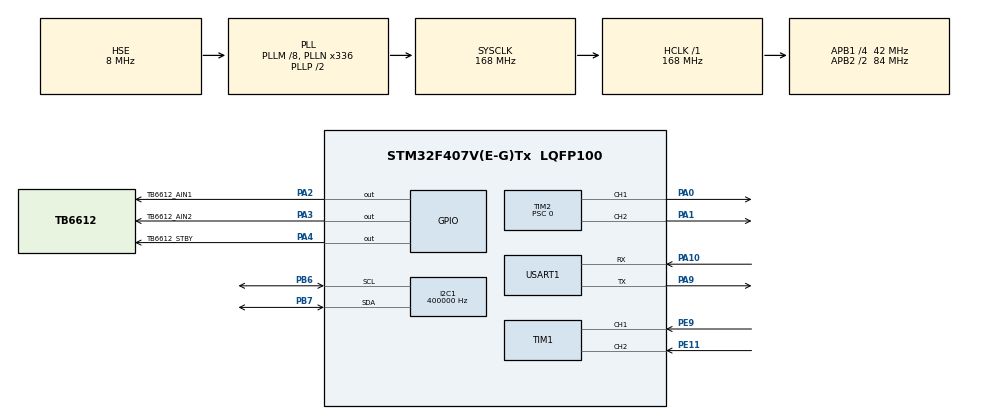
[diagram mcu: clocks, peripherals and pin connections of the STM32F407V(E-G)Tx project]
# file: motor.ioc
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I2C1.ClockSpeed=400000
I2C1.DutyCycle=I2C_DUTYCYCLE_2
Mcu.Family=STM32F4
Mcu.Name=STM32F407V(E-G)Tx
Mcu.Package=LQFP100
NVIC.PriorityGroup=NVIC_PRIORITYGROUP_4
NVIC.USART1_IRQn=true\:5\:0\:false\:false\:true\:true\:true\:true
PA0-WKUP.Signal=S_TIM2_CH1_ETR
PA1.Signal=S_TIM2_CH2
PA10.Mode=Asynchronous
PA10.Signal=USART1_RX
PA13.Mode=Serial_Wire
PA13.Signal=SYS_JTMS-SWDIO
PA14.Mode=Serial_Wire
PA14.Signal=SYS_JTCK-SWCLK
PA2.GPIO_Label=TB6612_AIN1
PA2.Signal=GPIO_Output
PA3.GPIO_Label=TB6612_AIN2
PA3.Signal=GPIO_Output
PA4.GPIO_Label=TB6612_STBY
PA4.Signal=GPIO_Output
PA9.Mode=Asynchronous
PA9.Signal=USART1_TX
PB6.Mode=I2C
PB6.Signal=I2C1_SCL
PB7.Mode=I2C
PB7.Signal=I2C1_SDA
PE11.Signal=S_TIM1_CH2
PE9.Signal=S_TIM1_CH1
PH0-OSC_IN.Mode=HSE-External-Oscillator
PH0-OSC_IN.Signal=RCC_OSC_IN
PH1-OSC_OUT.Mode=HSE-External-Oscillator
PH1-OSC_OUT.Signal=RCC_OSC_OUT
ProjectManager.HeapSize=0x200
ProjectManager.StackSize=0x800
ProjectManager.TargetToolchain=CMake
RCC.48MHZClocksFreq_Value=84000000
RCC.AHBFreq_Value=168000000
RCC.APB1CLKDivider=RCC_HCLK_DIV4
RCC.APB1Freq_Value=42000000
RCC.APB1TimFreq_Value=84000000
RCC.APB2CLKDivider=RCC_HCLK_DIV2
RCC.APB2Freq_Value=84000000
RCC.APB2TimFreq_Value=168000000
RCC.CortexFreq_Value=168000000
RCC.HCLKFreq_Value=168000000
RCC.HSE_VALUE=8000000
RCC.HSI_VALUE=16000000
RCC.LSE_VALUE=32768
RCC.PLLM=8
RCC.PLLN=336
RCC.PLLSourceVirtual=RCC_PLLSOURCE_HSE
RCC.SYSCLKFreq_VALUE=168000000
RCC.SYSCLKSource=RCC_SYSCLKSOURCE_PLLCLK
RCC.VCOOutputFreq_Value=336000000
SH.S_TIM1_CH1.0=TIM1_CH1,Encoder_Interface
SH.S_TIM1_CH2.0=TIM1_CH2,Encoder_Interface
SH.S_TIM2_CH1_ETR.0=TIM2_CH1,PWM Generation1 CH1
SH.S_TIM2_CH2.0=TIM2_CH2,PWM Generation2 CH2
TIM1.EncoderMode=TIM_ENCODERMODE_TI12
TIM2.Channel-PWM\ Generation1\ CH1=TIM_CHANNEL_1
TIM2.Channel-PWM\ Generation2\ CH2=TIM_CHANNEL_2
TIM2.Period=4199
TIM2.Prescaler=0
TIM2.Pulse-PWM\ Generation1\ CH1=0
TIM2.Pulse-PWM\ Generation2\ CH2=0
USART1.VirtualMode=VM_ASYNC
board=custom

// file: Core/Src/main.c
/* USER CODE BEGIN Header */
/**
  ******************************************************************************
  * @file           : main.c
  * @brief          直流有刷电机 PID 速度控制 Demo
  *
  * ============================ 硬件接线 ============================
  *   PA0   TIM2_CH1  PWM   ->  TB6612 PWMA
  *   PA2   GPIO 输出        ->  TB6612 AIN1
  *   PA3   GPIO 输出        ->  TB6612 AIN2
  *   PA4   GPIO 输出        ->  TB6612 STBY (高电平使能)
  *   PE9   TIM1_CH1         ->  编码器 A 相
  *   PE11  TIM1_CH2         ->  编码器 B 相
  *   PB6   I2C1_SCL         ->  OLED SCL
  *   PB7   I2C1_SDA         ->  OLED SDA
  *   PA9   USART1_TX        ->  USB-TTL RX
  *   PA10  USART1_RX        ->  USB-TTL TX
  *
  * ============================ VOFA+ 设置 ============================
  *   数据引擎 = JustFloat    通道数 = 4    波特率 = 115200
  *   通道0 = 期望转速    通道1 = 实际转速
  *   通道2 = 占空比      通道3 = 误差
  *
  * ============================ 串口命令 ============================
  *   在 VOFA+ 发送框里输入, 带不带换行都行:
  *     500          目标转速 500 RPM (负数反转)
  *     KP 2.5       KI 10       KD 0.02
  *     START        STOP
  *     DUTY 800     开环给占空比 (测接线用)
  *
  * ============================ 代码结构 ============================
  *   main.c     调度 + 命令解析 + 显示    motor.c    电机输出
  *   encoder.c  测速                      pid.c      PID 算法
  *   comm.c     串口收发                  oled.c     屏幕
  ******************************************************************************
  */
/* USER CODE END Header */
#include "main.h"
#include "i2c.h"
#include "tim.h"
#include "usart.h"
#include "gpio.h"

/* USER CODE BEGIN Includes */
#include "motor.h"
#include "encoder.h"
#include "pid.h"
#include "comm.h"
#include "oled.h"
#include <stdio.h>
#include <string.h>
/* USER CODE END Includes */

/* USER CODE BEGIN PD */

/* ==================================================================
 *  【参数区】上电默认值
 * ================================================================== */
#define CTRL_MS          10       /* 控制周期 ms (速度环 100Hz)                */

#define DEFAULT_TARGET   200.0f   /* 上电目标转速 RPM                          */
#define DEFAULT_KP       2.0f     /* 比例                                      */
#define DEFAULT_KI       10.0f    /* 积分                                      */
#define DEFAULT_KD       0.02f    /* 微分                                      */

#define OVERSPEED_RPM    3000.0f  /* 实际转速超过它就停机 (防编码器接反飞车)   */

/* USER CODE END PD */

/* USER CODE BEGIN PV */
static PID_t   pid;                          /* PID 控制器            */
static float   target_rpm = DEFAULT_TARGET;  /* 目标转速              */
static uint8_t running    = 1;               /* 1=闭环运行 0=停机     */

static uint8_t open_loop  = 0;               /* 1=开环(DUTY 命令测试) */
static int16_t open_duty  = 0;

/* 下面几个是显示 / 上报用的 */
static float   speed_rpm  = 0.0f;            /* 实际转速              */
static int16_t duty       = 0;               /* 当前输出占空比        */
static float   err        = 0.0f;            /* 误差                  */
static char    last_cmd[20] = "NONE";        /* 最后收到的一条命令    */
/* USER CODE END PV */

void SystemClock_Config(void);
/* USER CODE BEGIN PFP */
static float StrToFloat(const char *s);
static void  HandleCommand(char *s);
static void  Control_Step(void);
static void  Display_Task(void);
/* USER CODE END PFP */

/* USER CODE BEGIN 0 */

/* ==================================================================
 *  字符串转浮点 (自己写, 免得为了收命令再引入 scanf)
 * ================================================================== */
static float StrToFloat(const char *s)
{
  float v = 0.0f;
  float f = 0.1f;
  int   neg = 0;

  while ((*s == ' ') || (*s == '=') || (*s == '\t')) s++;

  if (*s == '-') { neg = 1; s++; }
  else if (*s == '+') { s++; }

  while ((*s >= '0') && (*s <= '9')) { v = v * 10.0f + (float)(*s - '0'); s++; }

  if (*s == '.')
  {
    s++;
    while ((*s >= '0') && (*s <= '9')) { v += (float)(*s - '0') * f; f *= 0.1f; s++; }
  }

  return neg ? -v : v;
}

/* ==================================================================
 *  命令解析
 * ================================================================== */
static void HandleCommand(char *s)
{
  /* 记下来, 显示在 OLED 上, 方便确认命令到底收到没有 */
  strncpy(last_cmd, s, sizeof(last_cmd) - 1);
  last_cmd[sizeof(last_cmd) - 1] = '\0';

  if (strncmp(s, "KP", 2) == 0)
  {
    pid.Kp = StrToFloat(s + 2);
  }
  else if (strncmp(s, "KI", 2) == 0)
  {
    pid.Ki = StrToFloat(s + 2);
  }
  else if (strncmp(s, "KD", 2) == 0)
  {
    pid.Kd = StrToFloat(s + 2);
  }
  else if (strncmp(s, "START", 5) == 0)
  {
    open_loop = 0;
    PID_Reset(&pid);
    running = 1;
  }
  else if (strncmp(s, "STOP", 4) == 0)
  {
    running = 0;
    duty    = 0;
    Motor_Set(0);
  }
  else if (strncmp(s, "DUTY", 4) == 0)
  {
    open_duty = (int16_t)StrToFloat(s + 4);
    open_loop = 1;
    running   = 1;
  }
  else if ((s[0] == '-') || (s[0] == '+') || (s[0] == '.') ||
           ((s[0] >= '0') && (s[0] <= '9')))
  {
    /* 纯数字 = 设目标转速, 顺便确保在闭环运行 */
    target_rpm = StrToFloat(s);
    open_loop  = 0;
    PID_Reset(&pid);
    running    = 1;
  }
  else
  {
    /* 不认识的命令, 忽略 */
  }
}

/* ==================================================================
 *  控制: 每 CTRL_MS 跑一次 (由 SysTick 中断里的 Control_Tick 调)
 * ================================================================== */
static void Control_Step(void)
{
  speed_rpm = Encoder_ReadRPM((float)CTRL_MS);

  /* 过速保护: 编码器接反会变成正反馈, 转速一路飙升, 这里兜一下 */
  if ((speed_rpm > OVERSPEED_RPM) || (speed_rpm < -OVERSPEED_RPM))
  {
    running = 0;
    duty    = 0;
    Motor_Set(0);
    return;
  }

  if (running == 0)                       /* 停机 */
  {
    duty = 0;
    err  = 0.0f;
    Motor_Set(0);
    PID_Reset(&pid);
    pid.last_speed = speed_rpm;           /* 重新启动时微分不会突变 */
    return;
  }

  if (open_loop)                          /* 开环测试: 直接给占空比 */
  {
    err  = target_rpm - speed_rpm;
    duty = open_duty;
    Motor_Set(duty);
    return;
  }

  /* 闭环 */
  err  = target_rpm - speed_rpm;
  duty = (int16_t)PID_Calc(&pid, target_rpm, speed_rpm, (float)CTRL_MS / 1000.0f);
  Motor_Set(duty);
}

/* SysTick 每 1ms 进一次, 数到 CTRL_MS 再跑控制, 保证采样周期准确 */
void Control_Tick(void)
{
  static uint32_t cnt = 0;

  if (++cnt >= CTRL_MS)
  {
    cnt = 0;
    Control_Step();
  }
}

/* ==================================================================
 *  OLED 显示: 每次只刷一行(约 3ms), 8 行轮流刷, 一屏 160ms
 * ================================================================== */
static void Display_Task(void)
{
  static uint32_t tick = 0;
  static uint8_t  line = 0;
  char s[32];

  if ((HAL_GetTick() - tick) < 20)
  {
    return;
  }
  tick = HAL_GetTick();

  switch (line)
  {
    case 0: snprintf(s, sizeof(s), "TAR %6d rpm", (int)target_rpm);      break;
    case 1: snprintf(s, sizeof(s), "ACT %6d rpm", (int)speed_rpm);       break;
    case 2: snprintf(s, sizeof(s), "OUT %6d",     (int)duty);            break;
    case 3: snprintf(s, sizeof(s), "ERR %6d rpm", (int)err);             break;
    case 4: snprintf(s, sizeof(s), "P%.2f I%.1f D%.3f", pid.Kp, pid.Ki, pid.Kd); break;
    case 5: snprintf(s, sizeof(s), "%s %s",
                     running ? "RUN" : "STOP",
                     open_loop ? "OPEN" : "CLOSED");                     break;
    case 6: snprintf(s, sizeof(s), "CMD: %s", last_cmd);                 break;
    default: snprintf(s, sizeof(s), "PID MOTOR DEMO");                   break;
  }

  OLED_ShowLine(line, s);

  line = (uint8_t)((line + 1) % 8);
}

/* USER CODE END 0 */

int main(void)
{
  /* USER CODE BEGIN 1 */
  uint32_t tick_send = 0;
  char     cmd[24];
  /* USER CODE END 1 */

  /* MCU Configuration--------------------------------------------------------*/
  HAL_Init();

  /* Configure the system clock */
  SystemClock_Config();

  /* Initialize all configured peripherals */
  MX_GPIO_Init();
  MX_I2C1_Init();
  MX_TIM1_Init();
  MX_TIM2_Init();
  MX_USART1_UART_Init();
  /* USER CODE BEGIN 2 */

  Motor_Init();                                        /* 电机 (PWM + STBY)  */
  Encoder_Init();                                      /* 编码器             */
  PID_Init(&pid, DEFAULT_KP, DEFAULT_KI, DEFAULT_KD, MOTOR_PWM_MAX);
  Comm_Init();                                         /* 串口 + 接收中断    */
  OLED_Init();                                         /* 屏幕(没接也不影响) */

  /* USER CODE END 2 */

  /* Infinite loop */
  /* USER CODE BEGIN WHILE */
  while (1)
  {
    /* 1. 每 10ms 给 VOFA+ 发一帧 */
    if ((HAL_GetTick() - tick_send) >= 10)
    {
      tick_send = HAL_GetTick();
      Comm_SendFrame(target_rpm, speed_rpm, (float)duty, err);
    }

    /* 2. 看看有没有收到串口命令 */
    if (Comm_GetCommand(cmd, sizeof(cmd)))
    {
      HandleCommand(cmd);
    }

    /* 3. 刷一行 OLED */
    Display_Task();

    /* USER CODE END WHILE */

  }
}

void SystemClock_Config(void)
{
  RCC_OscInitTypeDef RCC_OscInitStruct = {0};
  RCC_ClkInitTypeDef RCC_ClkInitStruct = {0};

  /** 内核电压调节器
  */
  __HAL_RCC_PWR_CLK_ENABLE();
  __HAL_PWR_VOLTAGESCALING_CONFIG(PWR_REGULATOR_VOLTAGE_SCALE1);

  /** 晶振 + PLL:  HSE 8MHz / 8 * 336 / 2 = 168MHz
  */
  RCC_OscInitStruct.OscillatorType = RCC_OSCILLATORTYPE_HSE;
  RCC_OscInitStruct.HSEState = RCC_HSE_ON;
  RCC_OscInitStruct.PLL.PLLState = RCC_PLL_ON;
  RCC_OscInitStruct.PLL.PLLSource = RCC_PLLSOURCE_HSE;
  RCC_OscInitStruct.PLL.PLLM = 8;
  RCC_OscInitStruct.PLL.PLLN = 336;
  RCC_OscInitStruct.PLL.PLLP = RCC_PLLP_DIV2;
  RCC_OscInitStruct.PLL.PLLQ = 4;
  if (HAL_RCC_OscConfig(&RCC_OscInitStruct) != HAL_OK)
  {
    Error_Handler();
  }

  /** 总线分频: AHB=168M, APB1=42M, APB2=84M
  */
  RCC_ClkInitStruct.ClockType = RCC_CLOCKTYPE_HCLK|RCC_CLOCKTYPE_SYSCLK
                              |RCC_CLOCKTYPE_PCLK1|RCC_CLOCKTYPE_PCLK2;
  RCC_ClkInitStruct.SYSCLKSource = RCC_SYSCLKSOURCE_PLLCLK;
  RCC_ClkInitStruct.AHBCLKDivider = RCC_SYSCLK_DIV1;
  RCC_ClkInitStruct.APB1CLKDivider = RCC_HCLK_DIV4;
  RCC_ClkInitStruct.APB2CLKDivider = RCC_HCLK_DIV2;

  if (HAL_RCC_ClockConfig(&RCC_ClkInitStruct, FLASH_LATENCY_5) != HAL_OK)
  {
    Error_Handler();
  }
}

void Error_Handler(void)
{
  __disable_irq();
  while (1)
  {
  }
}
